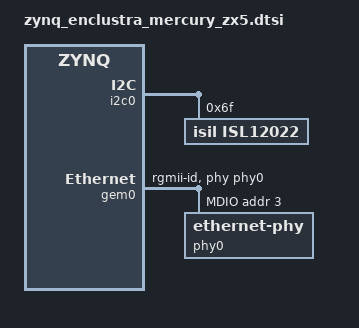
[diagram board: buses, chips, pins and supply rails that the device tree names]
&i2c0 {
	// The isl12022 driver is used for the ISL12020M
	isl12022: isl12022@6f {
		compatible = "isil,isl12022";
		reg = <0x6f>;
	};
};

&gem0 {
	phy-handle = <&phy0>;
	phy-mode = "rgmii-id";
	/delete-property/ local-mac-address;

	mdio {
		phy0: ethernet-phy@3 {
			reg = <3>;

			txc-skew-ps = <1800>;
			txen-skew-ps = <420>;

			txd0-skew-ps = <420>;
			txd1-skew-ps = <420>;
			txd2-skew-ps = <420>;
			txd3-skew-ps = <420>;

			rxc-skew-ps = <900>;
			rxdv-skew-ps = <420>;

			rxd0-skew-ps = <420>;
			rxd1-skew-ps = <420>;
			rxd2-skew-ps = <420>;
			rxd3-skew-ps = <420>;
		};
	};
};
